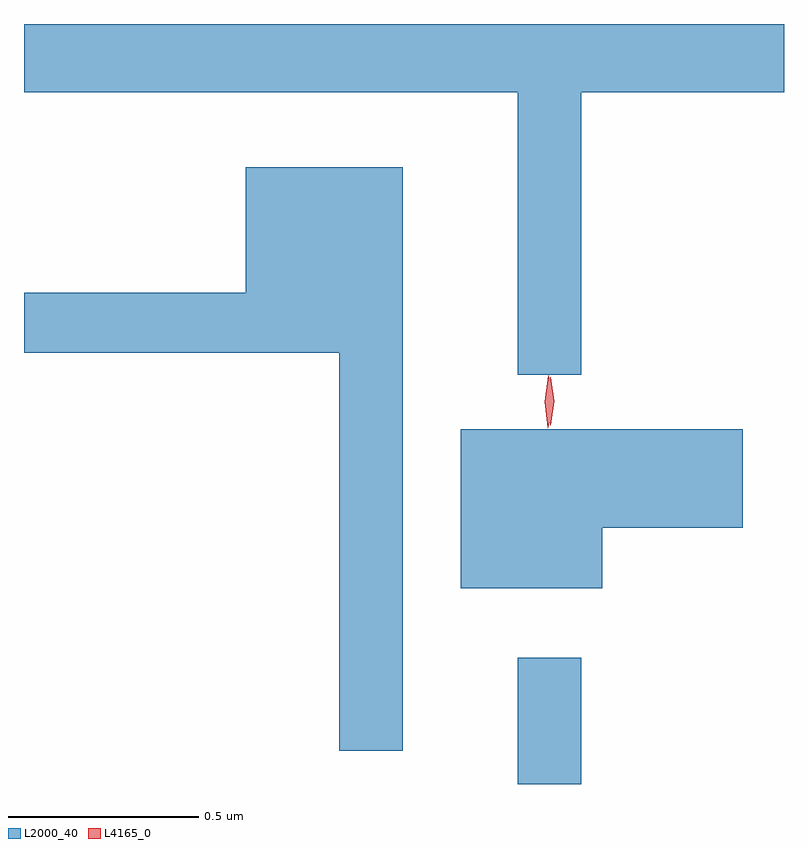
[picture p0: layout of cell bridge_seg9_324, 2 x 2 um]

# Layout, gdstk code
import gdstk
lib = gdstk.Library(unit=1e-6, precision=1e-09)
def R(c, l, rs):  # rectangles x0, y0, x1, y1
    for r in rs: c.add(gdstk.rectangle(r[:2], r[2:], *l))
def P(c, l, *ps):  # polygons
    for p in ps: c.add(gdstk.Polygon(p, *l))
L2000_40 = (2000, 40)
L4165_0 = (4165, 0)

bridge_seg9_324 = lib.new_cell('bridge_seg9_324')
R(bridge_seg9_324, L2000_40, [(1005.591,2058.816,1005.759,2059.148)])
P(bridge_seg9_324, L2000_40, [(1005.759,2060.636),(1006.292,2060.636),(1006.292,2060.816),(1004.292,2060.816),(1004.292,2060.636),(1005.591,2060.636),(1005.591,2059.893),(1005.759,2059.893)],
  [(1005.289,2060.439),(1004.876,2060.439),(1004.876,2060.109),(1004.292,2060.109),(1004.292,2059.951),(1005.121,2059.951),(1005.121,2058.903),(1005.289,2058.903)],
  [(1005.814,2059.491),(1006.184,2059.491),(1006.184,2059.749),(1005.441,2059.749),(1005.441,2059.331),(1005.814,2059.331)])
P(bridge_seg9_324, L4165_0, [(1005.67,2059.754),(1005.662,2059.822),(1005.672,2059.89),(1005.672,2059.89),(1005.673,2059.89),(1005.682,2059.822),(1005.671,2059.754),(1005.671,2059.754)],
  [(1005.677,2059.76),(1005.668,2059.823),(1005.677,2059.886),(1005.678,2059.887),(1005.678,2059.886),(1005.688,2059.823),(1005.678,2059.76),(1005.678,2059.76)])

lib.write_gds('bridge_seg9_324.gds')
